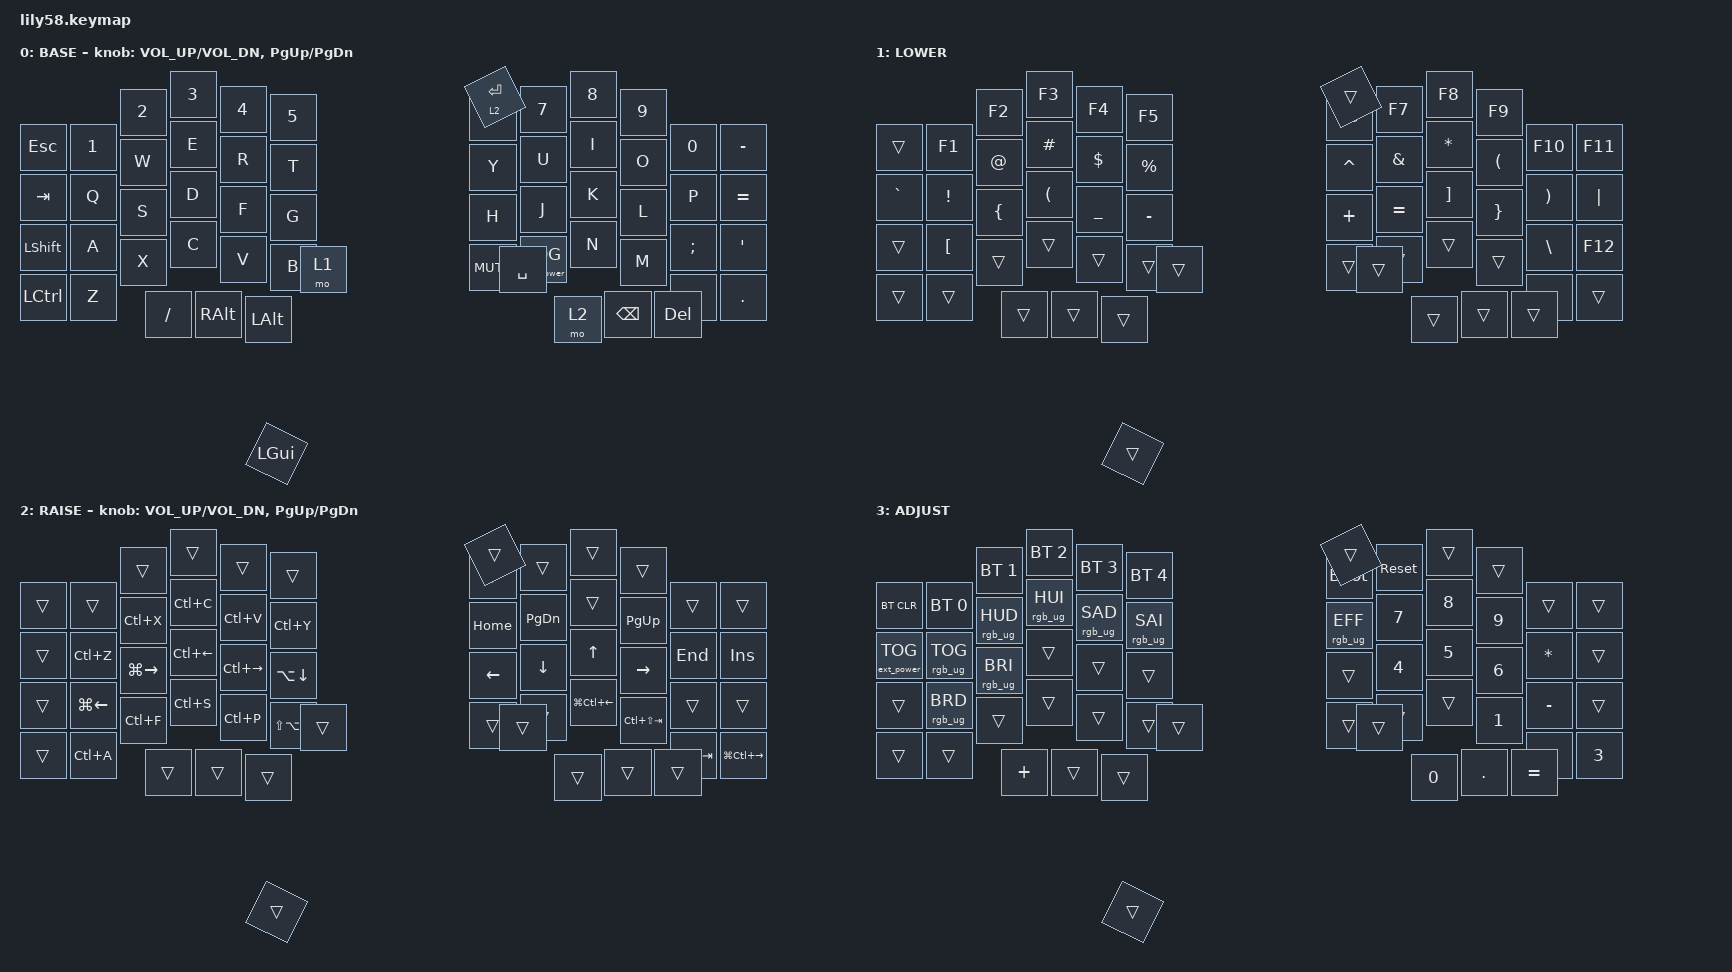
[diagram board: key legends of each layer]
/*
 * Lily58 - ZMK keymap mejorado para desarrollo
 * - Home row mods
 * - Layer-taps bien definidos
 * - Lower = símbolos / funciones
 * - Raise = navegación / edición
 * - Adjust = BT / RGB / sistema / numpad
 *
 * Ajusta tiempos si notas falsos hold o taps.
 */

#include <behaviors.dtsi>
#include <dt-bindings/zmk/keys.h>
#include <dt-bindings/zmk/bt.h>
#include <dt-bindings/zmk/ext_power.h>
#include <dt-bindings/zmk/rgb.h>

/ {
    conditional_layers {
        compatible = "zmk,conditional-layers";

        adjust_layer {
            if-layers = <1 2>;
            then-layer = <3>;
        };
    };

    behaviors {
        hrm: home_row_mods {
            compatible = "zmk,behavior-hold-tap";
            label = "HOME_ROW_MODS";
            #binding-cells = <2>;
            flavor = "balanced";
            tapping-term-ms = <500>;
            quick-tap-ms = <0>;
            require-prior-idle-ms = <120>;
            bindings = <&kp>, <&kp>;
        };

        ltm: layer_tap_mod {
            compatible = "zmk,behavior-hold-tap";
            label = "LAYER_TAP_MOD";
            #binding-cells = <2>;
            flavor = "balanced";
            tapping-term-ms = <200>;
            quick-tap-ms = <150>;
            require-prior-idle-ms = <120>;
            bindings = <&mo>, <&kp>;
        };
    };

    keymap {
        compatible = "zmk,keymap";

        default_layer {
            display-name = "BASE";
            bindings = <
/* ┌────────┬────┬────┬────┬────┬────┐                    ┌────┬────┬────┬────┬────┬────────┐
 * │ ESC    │ 1  │ 2  │ 3  │ 4  │ 5  │                    │ 6  │ 7  │ 8  │ 9  │ 0  │ MINUS  │
 * │ TAB    │ Q  │ W  │ E  │ R  │ T  │                    │ Y  │ U  │ I  │ O  │ P  │ EQUAL  │
 * │ LSHFT  │ A  │ S  │ D  │ F  │ G  │                    │ H  │ J  │ K  │ L  │ ;  │ SQT    │
 * │ LCTRL  │ Z  │ X  │ C  │ V  │ B  │ MUTE     BT_CLR   │ N  │ M  │ ,  │ .  │ /  │ RSHFT  │
 *                    │LALT│LGUI│LOWR│ SPC│       ENT│RASE│BSPC│ DEL│
 *                    └────┴────┴────┴────┘       └────┴────┴────┴────┘
 */
                &kp ESC    &kp N1         &kp N2         &kp N3         &kp N4         &kp N5                         &kp N6         &kp N7         &kp N8          &kp N9          &kp N0           &kp MINUS
                &kp TAB    &kp Q          &kp W          &kp E          &kp R          &kp T                          &kp Y          &kp U          &kp I           &kp O           &kp P            &kp EQUAL
                &kp LSHFT  &kp A          &kp S          &kp D          &kp F          &kp G                          &kp H          &kp J          &kp K           &kp L           &kp SEMI         &kp SQT
                &kp LCTRL  &kp Z          &kp X          &kp C          &kp V          &kp B          &kp C_MUTE   &ext_power EP_TOG      &kp N          &kp M          &kp COMMA       &kp DOT         &kp FSLH         &kp RALT
                                        &kp LALT       &kp LGUI       &mo 1          &kp SPACE    &ltm 2 ENTER   &mo 2          &kp BSPC       &kp DEL
            >;

            sensor-bindings = <&inc_dec_kp C_VOL_UP C_VOL_DN &inc_dec_kp PG_UP PG_DN>;
        };

        lower_layer {
            display-name = "LOWER";
            bindings = <
/* LOWER = símbolos / funciones / programación
 * Mantengo números arriba y dejo símbolos frecuentes accesibles.
 */
                &trans     &kp F1         &kp F2         &kp F3         &kp F4         &kp F5                         &kp F6         &kp F7         &kp F8          &kp F9          &kp F10          &kp F11
                &kp GRAVE  &kp EXCL       &kp AT         &kp HASH       &kp DLLR       &kp PRCNT                      &kp CARET      &kp AMPS       &kp ASTRK       &kp LPAR        &kp RPAR         &kp PIPE
                &trans     &kp LBKT       &kp LBRC       &kp LPAR       &kp UNDER      &kp MINUS                      &kp PLUS       &kp EQUAL      &kp RBKT        &kp RBRC        &kp BSLH         &kp F12
                &trans     &trans         &trans         &trans         &trans         &trans         &trans        &trans          &trans         &trans         &trans          &trans          &trans           &trans
                                        &trans         &trans         &trans         &trans          &trans         &trans          &trans         &trans
            >;
        };

        raise_layer {
            display-name = "RAISE";
            bindings = <
/* RAISE = navegación / edición / ventanas / pestañas */
                &trans     &trans         &trans         &trans         &trans         &trans                         &trans         &trans         &trans          &trans          &trans           &trans
                &trans     &kp LC(Z)      &kp LC(X)      &kp LC(C)      &kp LC(V)      &kp LC(Y)                      &kp HOME       &kp PG_DN       &trans         &kp PG_UP       &kp END          &kp INS
                &trans     &kp LG(LEFT)   &kp LG(RIGHT)  &kp LC(LEFT)   &kp LC(RIGHT)  &kp LA(DOWN)                   &kp LEFT       &kp DOWN       &kp UP          &kp RIGHT       &trans           &trans
                &trans     &kp LC(A)      &kp LC(F)      &kp LC(S)      &kp LC(P)      &kp LS(LA(DOWN)) &trans      &trans          &kp LG(LC(LEFT)) &kp LC(LS(TAB)) &kp LC(TAB)    &kp LG(LC(RIGHT)) &trans           &trans
                                        &trans         &trans         &trans         &trans          &trans         &trans          &trans         &trans
            >;

            sensor-bindings = <&inc_dec_kp C_VOL_UP C_VOL_DN &inc_dec_kp PG_UP PG_DN>;
        };

        adjust_layer {
            display-name = "ADJUST";
            bindings = <
/* ADJUST = Bluetooth / RGB / sistema / numpad */
                &bt BT_CLR         &bt BT_SEL 0      &bt BT_SEL 1      &bt BT_SEL 2      &bt BT_SEL 3      &bt BT_SEL 4                     &bootloader   &sys_reset    &trans          &trans          &trans          &trans
                &ext_power EP_TOG  &rgb_ug RGB_TOG   &rgb_ug RGB_HUD   &rgb_ug RGB_HUI   &rgb_ug RGB_SAD   &rgb_ug RGB_SAI                  &rgb_ug RGB_EFF &kp N7       &kp N8          &kp N9          &kp ASTRK       &trans
                &trans             &rgb_ug RGB_BRD   &rgb_ug RGB_BRI   &trans            &trans            &trans                           &trans        &kp N4        &kp N5          &kp N6          &kp MINUS       &trans
                &trans             &trans            &trans            &trans            &trans            &trans            &trans         &trans          &trans        &kp N1          &kp N2          &kp N3          &kp PLUS        &trans
                                                  &trans            &trans            &trans            &trans         &trans          &kp N0        &kp DOT         &kp EQUAL
            >;
        };
    };
};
